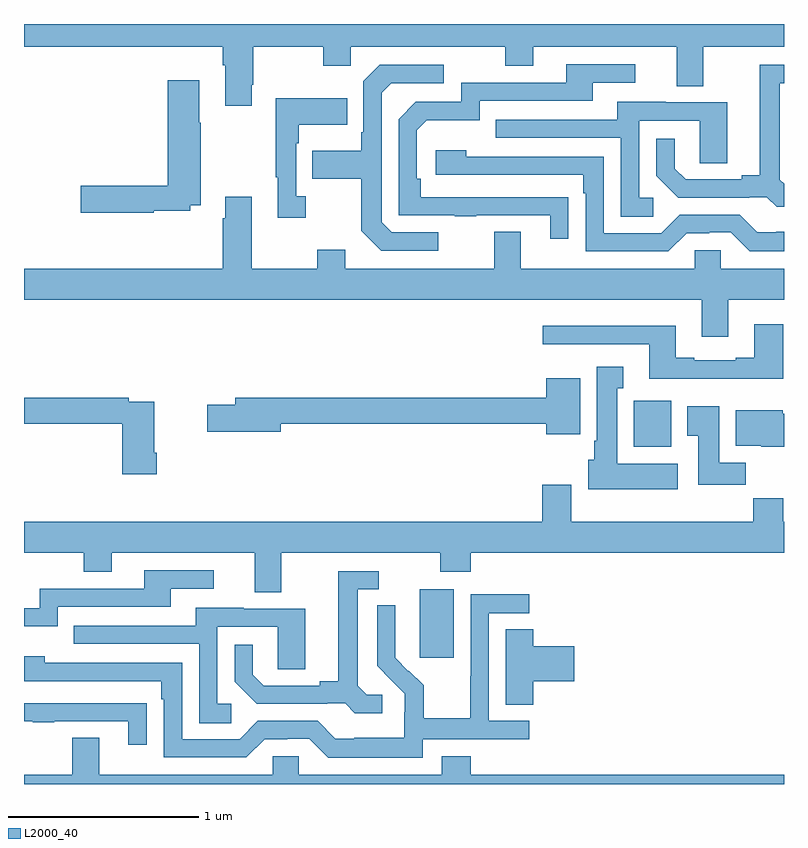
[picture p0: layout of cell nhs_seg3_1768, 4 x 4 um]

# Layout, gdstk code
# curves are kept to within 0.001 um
import gdstk
lib = gdstk.Library(unit=1e-6, precision=1e-09)
def R(c, l, rs):  # rectangles x0, y0, x1, y1
    for r in rs: c.add(gdstk.rectangle(r[:2], r[2:], *l))
def P(c, l, *ps):  # polygons
    for p in ps: c.add(gdstk.Polygon(p, *l))
L2000_40 = (2000, 40)

nhs_seg3_1768 = lib.new_cell('nhs_seg3_1768')
R(nhs_seg3_1768, L2000_40, [(205.082,667.065,205.261,667.426), (206.21,668.174,206.407,668.416)])
P(nhs_seg3_1768, L2000_40, [(204.199,670.081),(204.207,670.081),(204.207,670.28),(204.574,670.28),(204.574,670.181),(204.72,670.181),(204.72,670.28),(205.534,670.28),(205.534,670.181),(205.681,670.181),(205.681,670.28),(206.435,670.28),(206.435,670.072),(206.575,670.072),(206.575,670.28),(207,670.28),(207,670.4),(203,670.4),(203,670.28),(204.047,670.28),(204.047,670.184),(204.059,670.184),(204.059,669.969),(204.199,669.969)],
  [(205.865,669.488),(205.088,669.489),(205.088,669.586),(205.068,669.586),(205.068,669.84),(205.121,669.893),(205.398,669.893),(205.398,669.996),(205.993,669.996),(205.993,670.092),(206.218,670.092),(206.218,670.188),(205.853,670.188),(205.853,670.092),(205.302,670.092),(205.302,669.99),(205.062,669.99),(204.972,669.9),(204.972,669.393),(205.267,669.393),(205.267,669.388),(205.379,669.388),(205.379,669.393),(205.769,669.393),(205.769,669.27),(205.865,669.27)],
  [(207,669.558),(206.977,669.581),(206.977,670.089),(207,670.089),(207,670.185),(206.873,670.185),(206.873,669.605),(206.777,669.605),(206.777,669.582),(206.482,669.582),(206.425,669.639),(206.425,669.796),(206.328,669.796),(206.328,669.602),(206.444,669.486),(206.816,669.486),(206.816,669.489),(206.91,669.489),(206.962,669.437),(207,669.437)],
  [(205.18,669.303),(204.936,669.303),(204.882,669.357),(204.882,670.038),(204.933,670.089),(205.21,670.089),(205.21,670.185),(204.873,670.185),(204.786,670.098),(204.786,669.829),(204.774,669.829),(204.774,669.733),(204.517,669.733),(204.517,669.586),(204.774,669.586),(204.774,669.313),(204.879,669.207),(205.18,669.207)],
  [(203.682,669.418),(203.874,669.418),(203.874,669.446),(203.931,669.446),(203.931,669.881),(203.923,669.881),(203.923,670.105),(203.756,670.105),(203.756,669.548),(203.298,669.548),(203.298,669.406),(203.682,669.406)],
  [(204.484,669.494),(204.432,669.494),(204.432,669.773),(204.445,669.773),(204.445,669.869),(204.701,669.869),(204.701,670.009),(204.324,670.009),(204.324,669.593),(204.335,669.593),(204.335,669.381),(204.484,669.381)],
  [(206.311,669.486),(206.238,669.486),(206.238,669.891),(206.556,669.891),(206.556,669.667),(206.701,669.667),(206.701,669.987),(206.377,669.987),(206.377,669.991),(206.123,669.991),(206.123,669.897),(205.483,669.897),(205.483,669.801),(206.142,669.801),(206.142,669.385),(206.311,669.385)],
  [(207,669.307),(206.959,669.307),(206.959,669.303),(206.859,669.303),(206.766,669.396),(206.451,669.396),(206.355,669.3),(206.052,669.3),(206.052,669.702),(205.328,669.702),(205.328,669.736),(205.167,669.736),(205.167,669.606),(205.943,669.606),(205.943,669.509),(205.956,669.509),(205.956,669.204),(206.391,669.204),(206.487,669.3),(206.606,669.3),(206.606,669.303),(206.721,669.303),(206.821,669.203),(207,669.203)],
  [(206.707,668.948),(207,668.948),(207,669.112),(206.667,669.112),(206.667,669.21),(206.529,669.21),(206.529,669.112),(205.615,669.112),(205.615,669.307),(205.475,669.307),(205.475,669.112),(204.691,669.112),(204.691,669.211),(204.544,669.211),(204.544,669.112),(204.199,669.112),(204.199,669.49),(204.059,669.49),(204.059,669.377),(204.047,669.377),(204.047,669.112),(203,669.112),(203,668.948),(206.567,668.948),(206.567,668.754),(206.707,668.754)],
  [(206.996,668.821),(206.843,668.821),(206.843,668.644),(206.747,668.644),(206.747,668.631),(206.527,668.631),(206.527,668.644),(206.431,668.644),(206.431,668.812),(205.731,668.812),(205.731,668.715),(206.291,668.715),(206.291,668.534),(206.996,668.534)],
  [(206.44,668.086),(206.122,668.086),(206.122,668.483),(206.155,668.483),(206.155,668.596),(206.015,668.596),(206.015,668.206),(206,668.206),(206,668.106),(205.97,668.106),(205.97,667.952),(206.44,667.952)],
  [(205.927,668.536),(205.748,668.536),(205.748,668.432),(204.113,668.432),(204.113,668.396),(203.964,668.396),(203.964,668.254),(204.352,668.254),(204.352,668.296),(205.748,668.296),(205.748,668.24),(205.927,668.24)],
  [(203.699,668.143),(203.686,668.143),(203.686,668.412),(203.552,668.412),(203.552,668.432),(203,668.432),(203,668.296),(203.516,668.296),(203.516,668.031),(203.699,668.031)],
  [(206.798,668.092),(206.659,668.092),(206.659,668.389),(206.492,668.389),(206.492,668.233),(206.549,668.233),(206.549,667.974),(206.798,667.974)],
  [(207,668.35),(206.994,668.35),(206.994,668.368),(206.747,668.368),(206.747,668.18),(206.88,668.18),(206.88,668.174),(207,668.174)],
  [(207,667.78),(206.996,667.78),(206.996,667.904),(206.839,667.904),(206.839,667.78),(205.879,667.78),(205.879,667.975),(205.727,667.975),(205.727,667.78),(203,667.78),(203,667.616),(203.314,667.616),(203.314,667.517),(203.461,667.517),(203.461,667.616),(204.215,667.616),(204.215,667.408),(204.355,667.408),(204.355,667.616),(205.192,667.616),(205.192,667.517),(205.352,667.517),(205.352,667.616),(207,667.616)],
  [(203.178,667.332),(203.773,667.332),(203.773,667.428),(203.998,667.428),(203.998,667.524),(203.633,667.524),(203.633,667.428),(203.082,667.428),(203.082,667.326),(203,667.326),(203,667.229),(203.178,667.229)],
  [(204.886,666.87),(204.804,666.87),(204.757,666.917),(204.757,667.425),(204.868,667.425),(204.868,667.521),(204.653,667.521),(204.653,666.941),(204.557,666.941),(204.557,666.918),(204.262,666.918),(204.205,666.975),(204.205,667.132),(204.108,667.132),(204.108,666.938),(204.224,666.822),(204.596,666.822),(204.596,666.825),(204.69,666.825),(204.742,666.773),(204.886,666.773)],
  [(205.098,666.636),(205.66,666.636),(205.66,666.732),(205.446,666.732),(205.446,667.299),(205.66,667.299),(205.66,667.398),(205.35,667.398),(205.35,666.968),(205.348,666.968),(205.348,666.745),(205.103,666.745),(205.103,666.919),(205.026,666.996),(205.023,666.993),(204.953,667.064),(204.954,667.34),(204.858,667.34),(204.858,667.022),(205.004,666.874),(205.004,666.777),(205.002,666.777),(205.002,666.643),(204.739,666.643),(204.739,666.639),(204.639,666.639),(204.546,666.732),(204.231,666.732),(204.135,666.636),(203.832,666.636),(203.832,667.038),(203.108,667.038),(203.108,667.072),(203,667.072),(203,666.942),(203.723,666.942),(203.723,666.845),(203.736,666.845),(203.736,666.54),(204.171,666.54),(204.267,666.636),(204.386,666.636),(204.386,666.639),(204.501,666.639),(204.601,666.539),(205.098,666.539)],
  [(204.091,666.822),(204.018,666.822),(204.018,667.227),(204.336,667.227),(204.336,667.003),(204.481,667.003),(204.481,667.323),(204.157,667.323),(204.157,667.327),(203.903,667.327),(203.903,667.233),(203.263,667.233),(203.263,667.137),(203.922,667.137),(203.922,666.721),(204.091,666.721)],
  [(205.679,666.941),(205.897,666.941),(205.897,667.124),(205.679,667.124),(205.679,667.214),(205.535,667.214),(205.535,666.817),(205.679,666.817)],
  [(203.645,666.824),(203.543,666.824),(203.543,666.825),(203,666.825),(203,666.729),(203.047,666.729),(203.047,666.724),(203.159,666.724),(203.159,666.729),(203.549,666.729),(203.549,666.606),(203.645,666.606)],
  [(207,666.448),(205.352,666.448),(205.352,666.547),(205.199,666.547),(205.199,666.448),(204.447,666.448),(204.447,666.546),(204.309,666.546),(204.309,666.448),(203.395,666.448),(203.395,666.643),(203.255,666.643),(203.255,666.448),(203,666.448),(203,666.4),(207,666.4)])

lib.write_gds('nhs_seg3_1768.gds')
